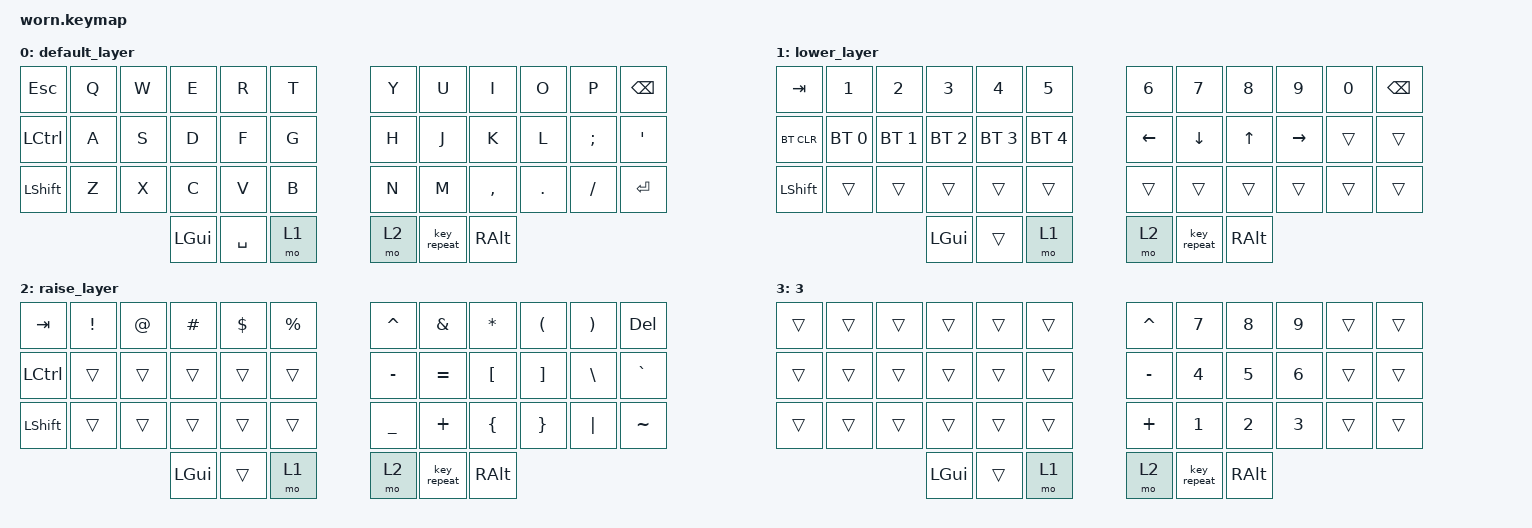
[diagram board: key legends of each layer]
#include <behaviors.dtsi>
#include <dt-bindings/zmk/keys.h>
#include <dt-bindings/zmk/bt.h>

/ {
        conditional_layers {
                compatible = "zmk,conditional-layers";
                tri_layer {
                        if-layers = <1 2>;
                        then-layer = <3>;
                };
        };

        keymap {
                compatible = "zmk,keymap";

                default_layer {
                        bindings = <
   &kp ESC   &kp Q &kp W &kp E &kp R &kp T   &kp Y &kp U  &kp I     &kp O   &kp P    &kp BSPC
   &kp LCTRL &kp A &kp S &kp D &kp F &kp G   &kp H &kp J  &kp K     &kp L   &kp SEMI &kp SQT
   &kp LSHFT &kp Z &kp X &kp C &kp V &kp B   &kp N &kp M  &kp COMMA &kp DOT &kp FSLH &kp RET
                  &kp LGUI &kp SPACE &mo 1   &mo 2 &key_repeat &kp RALT
                        >;
                };
                
                lower_layer {

                        bindings = <
   &kp TAB    &kp N1       &kp N2       &kp N3       &kp N4       &kp N5         &kp N6   &kp N7   &kp N8 &kp N9    &kp N0 &kp BSPC
   &bt BT_CLR &bt BT_SEL 0 &bt BT_SEL 1 &bt BT_SEL 2 &bt BT_SEL 3 &bt BT_SEL 4   &kp LEFT &kp DOWN &kp UP &kp RIGHT &trans &trans
   &kp LSHFT  &trans       &trans       &trans       &trans       &trans         &trans   &trans   &trans &trans    &trans &trans
                                    &kp LGUI     &trans       &mo 1      &mo 2  &key_repeat   &kp RALT
                        >;
                };

                raise_layer {
                        bindings = <
   &kp  TAB  &kp EXCL &kp AT &kp HASH &kp DLLR &kp PRCNT   &kp CARET &kp AMPS  &kp ASTRK &kp LPAR &kp RPAR &kp DEL
   &kp LCTRL &trans   &trans &trans   &trans   &trans      &kp MINUS &kp EQUAL &kp LBKT  &kp RBKT &kp BSLH &kp GRAVE
   &kp LSHFT &trans   &trans &trans   &trans   &trans      &kp UNDER &kp PLUS  &kp LBRC  &kp RBRC &kp PIPE &kp TILDE
                             &kp LGUI &trans   &mo 1   &mo 2   &key_repeat    &kp RALT
                        >;
                };

                3 {
                        bindings = <
   &trans &trans &trans &trans &trans &trans      &kp CARET &kp N7 &kp N8 &kp N9 &trans &trans
   &trans &trans &trans &trans &trans &trans      &kp MINUS &kp N4 &kp N5 &kp N6 &trans &trans
   &trans &trans &trans &trans &trans &trans      &kp PLUS  &kp N1 &kp N2 &kp N3 &trans &trans
                     &kp LGUI &trans   &mo 1      &mo 2  &key_repeat &kp RALT
                        >;
                };


        };
};
